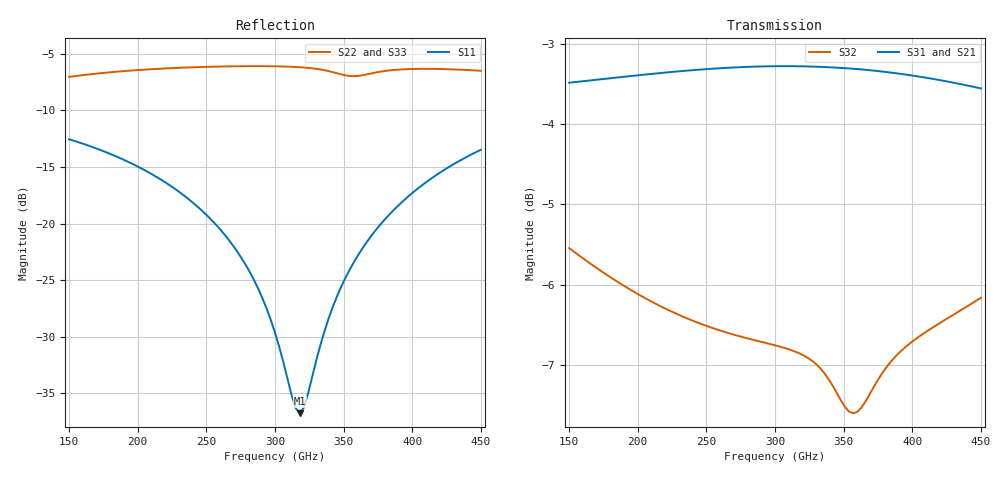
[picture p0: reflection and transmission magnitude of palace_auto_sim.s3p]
#  GHZ S DB R 50
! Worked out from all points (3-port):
!   101 points, 150 GHz to 450 GHz, reference 50 ohm
!   strongest paths, dB at 150 GHz, 225 GHz, 300 GHz, 375 GHz, 450 GHz:
!     S31: -3.5, -3.4, -3.3, -3.3, -3.6
!     S21: -3.5, -3.4, -3.3, -3.3, -3.6
!     S32: -5.5, -6.3, -6.8, -7.2, -6.2
!   lowest |S11| = -36.8 dB at 318 GHz (marker M1), VSWR 1.03, Z = 51.5 - j0.125 ohm
!   |S11| at or under -10 dB: start of sweep to end of sweep
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150  -12.54 133.7  -3.49 -43.5  -3.49 -43.5
     -3.49 -43.5  -7.03 52.5  -5.54 -96.6
     -3.49 -43.5  -5.54 -96.6  -7.03 52.5
207  -15.41 115.1  -3.38 -60.5  -3.38 -60.5
     -3.38 -60.5  -6.37 26.9  -6.18 -128.4
     -3.38 -60.5  -6.18 -128.4  -6.37 26.9
249  -19.10 99.6  -3.32 -73.4  -3.32 -73.4
     -3.32 -73.4  -6.15 11.2  -6.50 -151.0
     -3.32 -73.4  -6.50 -151.0  -6.15 11.2
279  -23.72 84.9  -3.29 -82.7  -3.29 -82.7
     -3.29 -82.7  -6.09 0.8  -6.66 -167.2
     -3.29 -82.7  -6.66 -167.2  -6.09 0.8
300  -29.63 65.1  -3.28 -89.3  -3.28 -89.3
     -3.28 -89.3  -6.10 -6.4  -6.75 -178.7
     -3.28 -89.3  -6.75 -178.7  -6.10 -6.4
318  -36.76 -4.8  -3.28 -95.0  -3.28 -95.0
     -3.28 -95.0  -6.18 -12.7  -6.85 171.2
     -3.28 -95.0  -6.85 171.2  -6.17 -12.7
342  -27.39 -82.1  -3.30 -102.6  -3.30 -102.6
     -3.30 -102.6  -6.61 -20.7  -7.25 157.8
     -3.30 -102.6  -7.25 157.8  -6.60 -20.7
366  -21.77 -99.3  -3.33 -110.1  -3.33 -110.2
     -3.33 -110.1  -6.84 -23.0  -7.45 150.3
     -3.33 -110.2  -7.45 150.3  -6.83 -23.1
402  -17.10 -115.0  -3.40 -121.5  -3.40 -121.5
     -3.40 -121.5  -6.33 -34.6  -6.68 131.6
     -3.40 -121.5  -6.68 131.6  -6.33 -34.7
450  -13.47 -132.3  -3.55 -136.4  -3.56 -136.4
     -3.55 -136.4  -6.50 -53.4  -6.16 104.4
     -3.56 -136.4  -6.16 104.4  -6.49 -53.4
